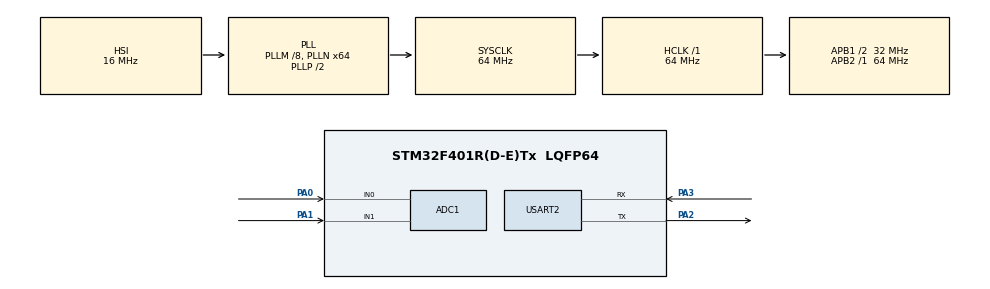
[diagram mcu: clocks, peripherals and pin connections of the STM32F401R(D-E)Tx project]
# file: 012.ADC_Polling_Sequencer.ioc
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ADC1.Channel-2\#ChannelRegularConversion=ADC_CHANNEL_1
ADC1.ClockPrescaler=ADC_CLOCK_SYNC_PCLK_DIV8
ADC1.ContinuousConvMode=ENABLE
ADC1.NbrOfConversion=2
ADC1.NbrOfConversionFlag=1
ADC1.Rank-2\#ChannelRegularConversion=2
ADC1.SamplingTime-0\#ChannelRegularConversion=ADC_SAMPLETIME_15CYCLES
ADC1.SamplingTime-2\#ChannelRegularConversion=ADC_SAMPLETIME_15CYCLES
ADC1.master=1
Mcu.Family=STM32F4
Mcu.Name=STM32F401R(D-E)Tx
Mcu.Package=LQFP64
NVIC.PriorityGroup=NVIC_PRIORITYGROUP_4
PA0-WKUP.GPIO_Mode=GPIO_MODE_ANALOG
PA0-WKUP.GPIO_PuPd=GPIO_NOPULL
PA0-WKUP.Signal=ADCx_IN0
PA1.GPIO_Mode=GPIO_MODE_ANALOG
PA1.GPIO_PuPd=GPIO_NOPULL
PA1.Signal=ADCx_IN1
PA13.Mode=Serial_Wire
PA13.Signal=SYS_JTMS-SWDIO
PA14.Mode=Serial_Wire
PA14.Signal=SYS_JTCK-SWCLK
PA2.Mode=Asynchronous
PA2.Signal=USART2_TX
PA3.Mode=Asynchronous
PA3.Signal=USART2_RX
ProjectManager.HeapSize=0x200
ProjectManager.StackSize=0x400
ProjectManager.TargetToolchain=STM32CubeIDE
RCC.48MHZClocksFreq_Value=32000000
RCC.AHBFreq_Value=64000000
RCC.APB1CLKDivider=RCC_HCLK_DIV2
RCC.APB1Freq_Value=32000000
RCC.APB1TimFreq_Value=64000000
RCC.APB2Freq_Value=64000000
RCC.APB2TimFreq_Value=64000000
RCC.CortexFreq_Value=64000000
RCC.HCLKFreq_Value=64000000
RCC.HSE_VALUE=25000000
RCC.HSI_VALUE=16000000
RCC.LSE_VALUE=32768
RCC.PLLM=8
RCC.PLLN=64
RCC.SYSCLKFreq_VALUE=64000000
RCC.SYSCLKSource=RCC_SYSCLKSOURCE_PLLCLK
RCC.VCOOutputFreq_Value=128000000
SH.ADCx_IN0.0=ADC1_IN0,IN0
SH.ADCx_IN1.0=ADC1_IN1,IN1
USART2.VirtualMode=VM_ASYNC
board=custom

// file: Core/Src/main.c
/* USER CODE BEGIN Header */
/**
  ******************************************************************************
  * @file           : main.c
  * @brief          : Main program body
  ******************************************************************************
  * @attention
  *
  * Copyright (c) 2025 STMicroelectronics.
  * All rights reserved.
  *
  * This software is licensed under terms that can be found in the LICENSE file
  * in the root directory of this software component.
  * If no LICENSE file comes with this software, it is provided AS-IS.
  *
  ******************************************************************************
  */
/* USER CODE END Header */
#include "main.h"

/* USER CODE BEGIN Includes */
#include <stdio.h>
/* USER CODE END Includes */

ADC_HandleTypeDef hadc1;

UART_HandleTypeDef huart2;

void SystemClock_Config(void);
static void MX_GPIO_Init(void);
static void MX_ADC1_Init(void);
static void MX_USART2_UART_Init(void);
/* USER CODE BEGIN PFP */
#ifdef __GNUC__
#define PUTCHAR_PROTOTYPE int __io_putchar(int ch)
#else
#define PUTCHAR_PROTOTYPE int fputc(int ch, FILE *f)
#endif

PUTCHAR_PROTOTYPE
{
	if(ch == '\n')
	{
		HAL_UART_Transmit(&huart2, (uint8_t*)"\r", 1, 0xFFFF);
	}
	HAL_UART_Transmit(&huart2, (uint8_t*)&ch, 1, 0xFFFF);
	return ch;
}
/* USER CODE END PFP */

int main(void)
{

  /* MCU Configuration--------------------------------------------------------*/

  /* Reset of all peripherals, Initializes the Flash interface and the Systick. */
  HAL_Init();

  /* Configure the system clock */
  SystemClock_Config();

  /* Initialize all configured peripherals */
  MX_GPIO_Init();
  MX_ADC1_Init();
  MX_USART2_UART_Init();

  /* Infinite loop */
  /* USER CODE BEGIN WHILE */
  uint16_t uwADCxConvertedVAlue[2];
  while (1)
  {
	  if(HAL_ADC_Start(&hadc1) != HAL_OK)
	  {
		  Error_Handler();
	  }
	  for(uint8_t i = 0; i <2; i++)
	  {
		  HAL_ADC_PollForConversion(&hadc1, 100);

		  if((HAL_ADC_GetState(&hadc1) & HAL_ADC_STATE_REG_EOC) == HAL_ADC_STATE_REG_EOC)
		  {
			  uwADCxConvertedVAlue[i] = HAL_ADC_GetValue(&hadc1);
		  }
	  }
	  HAL_ADC_Stop(&hadc1);
    /* USER CODE END WHILE */

    /* USER CODE BEGIN 3 */
	  printf("VAR = %4d, CDS=%4d\n", uwADCxConvertedVAlue[0], uwADCxConvertedVAlue[1]);
	  HAL_Delay(100);
  }

  /* USER CODE END 3 */
}

void SystemClock_Config(void)
{
  RCC_OscInitTypeDef RCC_OscInitStruct = {0};
  RCC_ClkInitTypeDef RCC_ClkInitStruct = {0};

  /** Configure the main internal regulator output voltage
  */
  __HAL_RCC_PWR_CLK_ENABLE();
  __HAL_PWR_VOLTAGESCALING_CONFIG(PWR_REGULATOR_VOLTAGE_SCALE2);

  /** Initializes the RCC Oscillators according to the specified parameters
  * in the RCC_OscInitTypeDef structure.
  */
  RCC_OscInitStruct.OscillatorType = RCC_OSCILLATORTYPE_HSI;
  RCC_OscInitStruct.HSIState = RCC_HSI_ON;
  RCC_OscInitStruct.HSICalibrationValue = RCC_HSICALIBRATION_DEFAULT;
  RCC_OscInitStruct.PLL.PLLState = RCC_PLL_ON;
  RCC_OscInitStruct.PLL.PLLSource = RCC_PLLSOURCE_HSI;
  RCC_OscInitStruct.PLL.PLLM = 8;
  RCC_OscInitStruct.PLL.PLLN = 64;
  RCC_OscInitStruct.PLL.PLLP = RCC_PLLP_DIV2;
  RCC_OscInitStruct.PLL.PLLQ = 4;
  if (HAL_RCC_OscConfig(&RCC_OscInitStruct) != HAL_OK)
  {
    Error_Handler();
  }

  /** Initializes the CPU, AHB and APB buses clocks
  */
  RCC_ClkInitStruct.ClockType = RCC_CLOCKTYPE_HCLK|RCC_CLOCKTYPE_SYSCLK
                              |RCC_CLOCKTYPE_PCLK1|RCC_CLOCKTYPE_PCLK2;
  RCC_ClkInitStruct.SYSCLKSource = RCC_SYSCLKSOURCE_PLLCLK;
  RCC_ClkInitStruct.AHBCLKDivider = RCC_SYSCLK_DIV1;
  RCC_ClkInitStruct.APB1CLKDivider = RCC_HCLK_DIV2;
  RCC_ClkInitStruct.APB2CLKDivider = RCC_HCLK_DIV1;

  if (HAL_RCC_ClockConfig(&RCC_ClkInitStruct, FLASH_LATENCY_2) != HAL_OK)
  {
    Error_Handler();
  }
}

static void MX_ADC1_Init(void)
{

  ADC_ChannelConfTypeDef sConfig = {0};

  /** Configure the global features of the ADC (Clock, Resolution, Data Alignment and number of conversion)
  */
  hadc1.Instance = ADC1;
  hadc1.Init.ClockPrescaler = ADC_CLOCK_SYNC_PCLK_DIV8;
  hadc1.Init.Resolution = ADC_RESOLUTION_12B;
  hadc1.Init.ScanConvMode = ENABLE;
  hadc1.Init.ContinuousConvMode = ENABLE;
  hadc1.Init.DiscontinuousConvMode = DISABLE;
  hadc1.Init.ExternalTrigConvEdge = ADC_EXTERNALTRIGCONVEDGE_NONE;
  hadc1.Init.ExternalTrigConv = ADC_SOFTWARE_START;
  hadc1.Init.DataAlign = ADC_DATAALIGN_RIGHT;
  hadc1.Init.NbrOfConversion = 2;
  hadc1.Init.DMAContinuousRequests = DISABLE;
  hadc1.Init.EOCSelection = ADC_EOC_SINGLE_CONV;
  if (HAL_ADC_Init(&hadc1) != HAL_OK)
  {
    Error_Handler();
  }

  /** Configure for the selected ADC regular channel its corresponding rank in the sequencer and its sample time.
  */
  sConfig.Channel = ADC_CHANNEL_0;
  sConfig.Rank = 1;
  sConfig.SamplingTime = ADC_SAMPLETIME_15CYCLES;
  if (HAL_ADC_ConfigChannel(&hadc1, &sConfig) != HAL_OK)
  {
    Error_Handler();
  }

  /** Configure for the selected ADC regular channel its corresponding rank in the sequencer and its sample time.
  */
  sConfig.Channel = ADC_CHANNEL_1;
  sConfig.Rank = 2;
  if (HAL_ADC_ConfigChannel(&hadc1, &sConfig) != HAL_OK)
  {
    Error_Handler();
  }

}

static void MX_USART2_UART_Init(void)
{

  huart2.Instance = USART2;
  huart2.Init.BaudRate = 115200;
  huart2.Init.WordLength = UART_WORDLENGTH_8B;
  huart2.Init.StopBits = UART_STOPBITS_1;
  huart2.Init.Parity = UART_PARITY_NONE;
  huart2.Init.Mode = UART_MODE_TX_RX;
  huart2.Init.HwFlowCtl = UART_HWCONTROL_NONE;
  huart2.Init.OverSampling = UART_OVERSAMPLING_16;
  if (HAL_UART_Init(&huart2) != HAL_OK)
  {
    Error_Handler();
  }

}

static void MX_GPIO_Init(void)
{

  /* GPIO Ports Clock Enable */
  __HAL_RCC_GPIOA_CLK_ENABLE();

}

void Error_Handler(void)
{
  __disable_irq();
  while (1)
  {
  }
}
